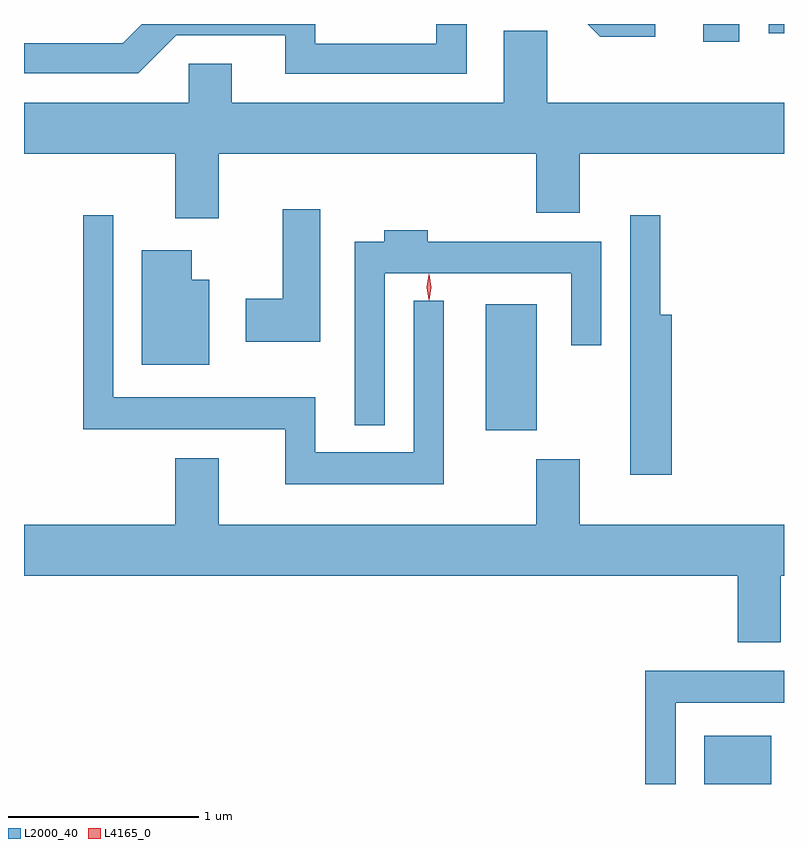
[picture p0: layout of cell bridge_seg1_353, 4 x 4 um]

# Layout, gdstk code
import gdstk
lib = gdstk.Library(unit=1e-6, precision=1e-09)
def R(c, l, rs):  # rectangles x0, y0, x1, y1
    for r in rs: c.add(gdstk.rectangle(r[:2], r[2:], *l))
def P(c, l, *ps):  # polygons
    for p in ps: c.add(gdstk.Polygon(p, *l))
L2000_40 = (2000, 40)
L4165_0 = (4165, 0)

bridge_seg1_353 = lib.new_cell('bridge_seg1_353')
R(bridge_seg1_353, L2000_40, [(926.066,874.059,926.419,874.314), (924.916,875.921,925.184,876.584), (926.061,877.966,926.249,878.059), (926.406,878.011,926.485,878.059)])
P(bridge_seg1_353, L2000_40, [(924.814,878.059),(924.656,878.059),(924.656,877.954),(924.019,877.954),(924.019,878.059),(923.104,878.059),(923.004,877.959),(922.485,877.959),(922.485,877.801),(923.087,877.801),(923.287,878.001),(923.861,878.001),(923.861,877.796),(924.814,877.796)],
  [(925.808,878.059),(925.451,878.059),(925.519,877.991),(925.808,877.991)],
  [(923.509,877.376),(925.181,877.376),(925.181,877.066),(925.409,877.066),(925.409,877.376),(926.485,877.376),(926.485,877.644),(925.239,877.644),(925.239,878.024),(925.011,878.024),(925.011,877.644),(923.579,877.644),(923.579,877.849),(923.351,877.849),(923.351,877.644),(922.485,877.644),(922.485,877.376),(923.281,877.376),(923.281,877.036),(923.509,877.036)],
  [(924.044,877.084),(923.846,877.084),(923.846,876.614),(923.651,876.614),(923.651,876.386),(924.044,876.386)],
  [(925.894,876.529),(925.834,876.529),(925.834,877.053),(925.676,877.053),(925.676,875.686),(925.894,875.686)],
  [(924.694,876.603),(924.536,876.603),(924.536,875.804),(924.019,875.804),(924.019,876.094),(922.954,876.094),(922.954,877.053),(922.796,877.053),(922.796,875.926),(923.861,875.926),(923.861,875.636),(924.694,875.636)],
  [(924.384,876.746),(925.366,876.746),(925.366,876.368),(925.524,876.368),(925.524,876.914),(924.609,876.914),(924.609,876.974),(924.381,876.974),(924.381,876.914),(924.226,876.914),(924.226,875.948),(924.384,875.948)],
  [(923.459,876.714),(923.369,876.714),(923.369,876.869),(923.106,876.869),(923.106,876.266),(923.459,876.266)],
  [(926.469,875.156),(926.485,875.156),(926.485,875.424),(925.409,875.424),(925.409,875.769),(925.181,875.769),(925.181,875.424),(923.509,875.424),(923.509,875.774),(923.281,875.774),(923.281,875.424),(922.485,875.424),(922.485,875.156),(926.241,875.156),(926.241,874.806),(926.469,874.806)],
  [(925.914,874.486),(926.485,874.486),(926.485,874.654),(925.756,874.654),(925.756,874.059),(925.914,874.059)])
P(bridge_seg1_353, L4165_0, [(924.616,876.607),(924.616,876.608),(924.606,876.674),(924.616,876.74),(924.616,876.741),(924.617,876.74),(924.626,876.674),(924.617,876.608)],
  [(924.617,876.604),(924.608,876.673),(924.618,876.742),(924.618,876.743),(924.619,876.742),(924.628,876.673),(924.618,876.604),(924.618,876.604)])

lib.write_gds('bridge_seg1_353.gds')
